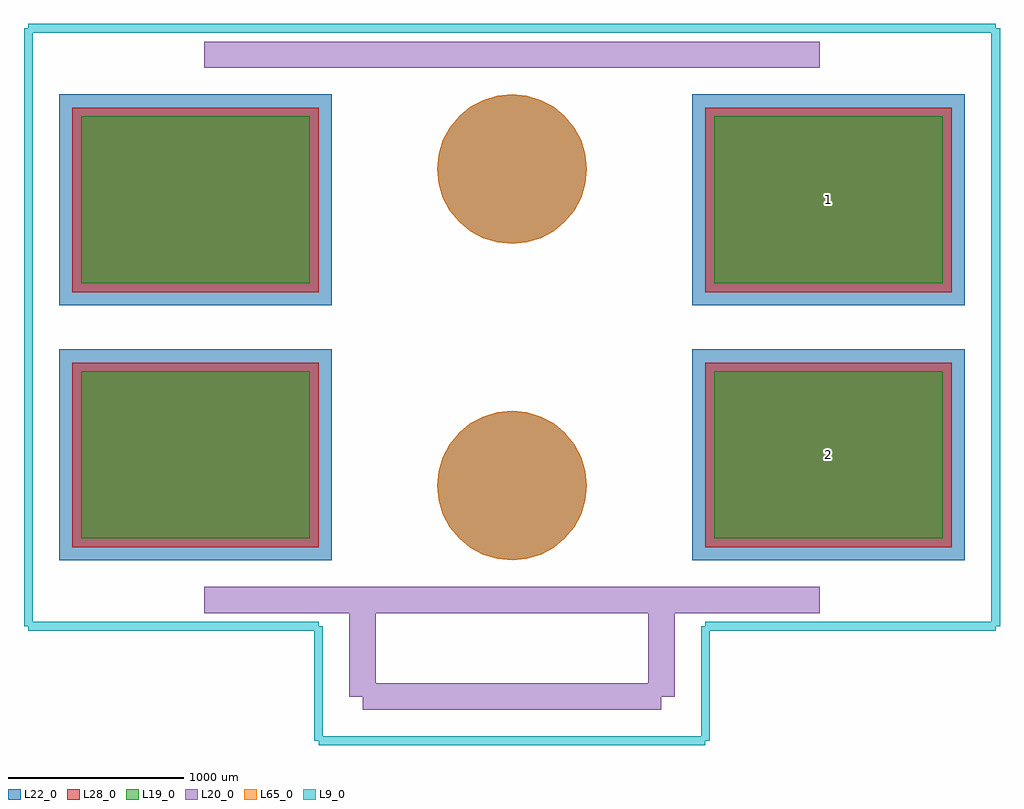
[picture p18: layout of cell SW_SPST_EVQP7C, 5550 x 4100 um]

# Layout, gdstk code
import gdstk
lib = gdstk.Library(unit=1e-6, precision=1e-09)
def R(c, l, rs):  # rectangles x0, y0, x1, y1
    for r in rs: c.add(gdstk.rectangle(r[:2], r[2:], *l))
def P(c, l, *ps):  # polygons
    for p in ps: c.add(gdstk.Polygon(p, *l))
L9_0 = (9, 0)
L19_0 = (19, 0)
L20_0 = (20, 0)
L22_0 = (22, 0)
L28_0 = (28, 0)
L65_0 = (65, 0)

sw_spst_evqp7c = lib.new_cell('SW_SPST_EVQP7C')
R(sw_spst_evqp7c, L19_0, [(-2450,-1200,-1150,-250), (1150,-1200,2450,-250), (-2450,250,-1150,1200), (1150,250,2450,1200)])
R(sw_spst_evqp7c, L22_0, [(-2575,-1325,-1025,-125), (1025,-1325,2575,-125), (-2575,125,-1025,1325), (1025,125,2575,1325)])
P(sw_spst_evqp7c, L22_0, [(425,-900),(416.834,-817.087),(392.649,-737.36),(353.375,-663.883),(300.52,-599.48),(236.117,-546.625),(162.64,-507.351),(82.913,-483.166),(0,-475),(-82.913,-483.166),(-162.64,-507.351),(-236.117,-546.625),(-300.52,-599.48),(-353.375,-663.883),(-392.649,-737.36),(-416.834,-817.087),(-425,-900),(-416.834,-982.913),(-392.649,-1062.64),(-353.375,-1136.117),(-300.52,-1200.52),(-236.117,-1253.375),(-162.64,-1292.649),(-82.913,-1316.834),(0,-1325),(82.913,-1316.834),(162.64,-1292.649),(236.117,-1253.375),(300.52,-1200.52),(353.375,-1136.117),(392.649,-1062.64),(416.834,-982.913)],
  [(425,900),(416.834,982.913),(392.649,1062.64),(353.375,1136.117),(300.52,1200.52),(236.117,1253.375),(162.64,1292.649),(82.913,1316.834),(0,1325),(-82.913,1316.834),(-162.64,1292.649),(-236.117,1253.375),(-300.52,1200.52),(-353.375,1136.117),(-392.649,1062.64),(-416.834,982.913),(-425,900),(-416.834,817.087),(-392.649,737.36),(-353.375,663.883),(-300.52,599.48),(-236.117,546.625),(-162.64,507.351),(-82.913,483.166),(0,475),(82.913,483.166),(162.64,507.351),(236.117,546.625),(300.52,599.48),(353.375,663.883),(392.649,737.36),(416.834,817.087)])
R(sw_spst_evqp7c, L28_0, [(-2500,-1250,-1100,-200), (1100,-1250,2500,-200), (-2500,200,-1100,1250), (1100,200,2500,1250)])
P(sw_spst_evqp7c, L65_0, [(425,-900),(416.834,-817.087),(392.649,-737.36),(353.375,-663.883),(300.52,-599.48),(236.117,-546.625),(162.64,-507.351),(82.913,-483.166),(0,-475),(-82.913,-483.166),(-162.64,-507.351),(-236.117,-546.625),(-300.52,-599.48),(-353.375,-663.883),(-392.649,-737.36),(-416.834,-817.087),(-425,-900),(-416.834,-982.913),(-392.649,-1062.64),(-353.375,-1136.117),(-300.52,-1200.52),(-236.117,-1253.375),(-162.64,-1292.649),(-82.913,-1316.834),(0,-1325),(82.913,-1316.834),(162.64,-1292.649),(236.117,-1253.375),(300.52,-1200.52),(353.375,-1136.117),(392.649,-1062.64),(416.834,-982.913)],
  [(425,900),(416.834,982.913),(392.649,1062.64),(353.375,1136.117),(300.52,1200.52),(236.117,1253.375),(162.64,1292.649),(82.913,1316.834),(0,1325),(-82.913,1316.834),(-162.64,1292.649),(-236.117,1253.375),(-300.52,1200.52),(-353.375,1136.117),(-392.649,1062.64),(-416.834,982.913),(-425,900),(-416.834,817.087),(-392.649,737.36),(-353.375,663.883),(-300.52,599.48),(-236.117,546.625),(-162.64,507.351),(-82.913,483.166),(0,475),(82.913,483.166),(162.64,507.351),(236.117,546.625),(300.52,599.48),(353.375,663.883),(392.649,737.36),(416.834,817.087)])
sw_spst_evqp7c.add(gdstk.FlexPath([(-2750,-1700),(-2750,1700)], 50, ends="flush", simple_path=True, layer=9, datatype=0))  # L9_0
sw_spst_evqp7c.add(gdstk.FlexPath([(1100,-2350),(-1100,-2350)], 50, ends="flush", simple_path=True, layer=9, datatype=0))  # L9_0
sw_spst_evqp7c.add(gdstk.FlexPath([(2750,1700),(2750,-1700)], 50, ends="flush", simple_path=True, layer=9, datatype=0))  # L9_0
sw_spst_evqp7c.add(gdstk.FlexPath([(-2750,1700),(2750,1700)], 50, ends="flush", simple_path=True, layer=9, datatype=0))  # L9_0
sw_spst_evqp7c.add(gdstk.FlexPath([(1750,-1550),(-1750,-1550)], 149.998, ends="flush", simple_path=True, layer=20, datatype=0))  # L20_0
sw_spst_evqp7c.add(gdstk.FlexPath([(-1750,1550),(1750,1550)], 149.998, ends="flush", simple_path=True, layer=20, datatype=0))  # L20_0
sw_spst_evqp7c.add(gdstk.FlexPath([(-850,-2100),(-850,-1550)], 149.998, ends="flush", simple_path=True, layer=20, datatype=0))  # L20_0
sw_spst_evqp7c.add(gdstk.FlexPath([(850,-2100),(-850,-2100)], 149.998, ends="flush", simple_path=True, layer=20, datatype=0))  # L20_0
sw_spst_evqp7c.add(gdstk.FlexPath([(850,-1550),(850,-2100)], 149.998, ends="flush", simple_path=True, layer=20, datatype=0))  # L20_0
sw_spst_evqp7c.add(gdstk.FlexPath([(1100,-1700),(1100,-2350)], 50, ends="flush", simple_path=True, layer=9, datatype=0))  # L9_0
sw_spst_evqp7c.add(gdstk.FlexPath([(2750,-1700),(1100,-1700)], 50, ends="flush", simple_path=True, layer=9, datatype=0))  # L9_0
sw_spst_evqp7c.add(gdstk.FlexPath([(-1100,-1700),(-2750,-1700)], 50, ends="flush", simple_path=True, layer=9, datatype=0))  # L9_0
sw_spst_evqp7c.add(gdstk.FlexPath([(-1100,-2350),(-1100,-1700)], 50, ends="flush", simple_path=True, layer=9, datatype=0))  # L9_0
sw_spst_evqp7c.add(gdstk.Label('2', (1800,-725), layer=28, texttype=0))
sw_spst_evqp7c.add(gdstk.Label('1', (1800,725), layer=28, texttype=0))
sw_spst_evqp7c.add(gdstk.Label('type', (0,-3250), layer=9, texttype=0))
sw_spst_evqp7c.add(gdstk.Label('devicename', (0,2500), layer=9, texttype=0))

lib.write_gds('SW_SPST_EVQP7C.gds')
